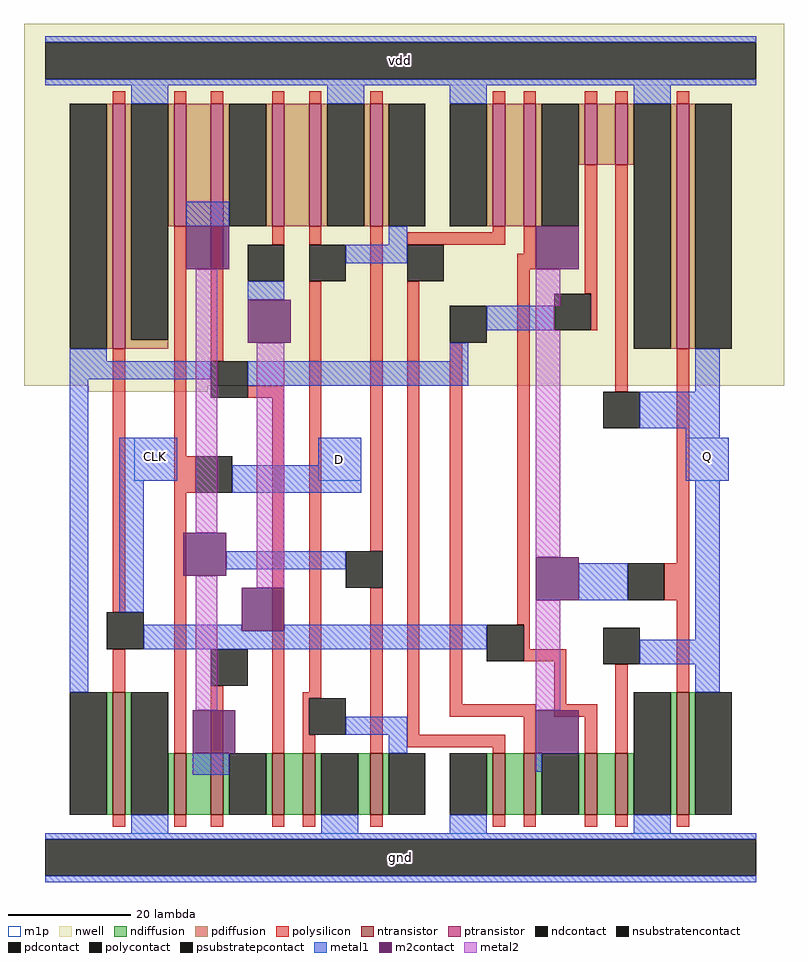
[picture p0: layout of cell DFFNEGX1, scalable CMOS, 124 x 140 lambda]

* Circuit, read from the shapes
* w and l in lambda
.subckt DFFNEGX1 D CLK Q vdd gnd
M1 gnd CLK n1 gnd nfet w=20 l=2
M2 n2 D gnd gnd nfet w=10 l=2
M3 n3 CLK n2 gnd nfet w=10 l=2
M4 n4 n1 n3 gnd nfet w=10 l=2
M5 gnd n5 n4 gnd nfet w=10 l=2
M6 n5 n3 gnd gnd nfet w=10 l=2
M7 n6 n5 gnd gnd nfet w=10 l=2
M8 n7 n1 n6 gnd nfet w=10 l=2
M9 n8 CLK n7 gnd nfet w=10 l=2
M10 gnd Q n8 gnd nfet w=10 l=2
M11 Q n7 gnd gnd nfet w=20 l=2
M12 vdd CLK n1 vdd pfet w=40 l=2
M13 n9 D vdd vdd pfet w=20 l=2
M14 n3 n1 n9 vdd pfet w=20 l=2
M15 n10 CLK n3 vdd pfet w=20 l=2
M16 vdd n5 n10 vdd pfet w=20 l=2
M17 n5 n3 vdd vdd pfet w=20 l=2
M18 n11 n5 vdd vdd pfet w=20 l=2
M19 n7 CLK n11 vdd pfet w=20 l=2
M20 n12 n1 n7 vdd pfet w=10 l=2
M21 vdd Q n12 vdd pfet w=10 l=2
M22 Q n7 vdd vdd pfet w=40 l=2
.ends

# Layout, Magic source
magic
tech scmos
magscale 1 2
<< nwell >>
rect -13 154 235 272
rect 8 152 47 154
<< ntransistor >>
rect 16 14 20 54
rect 36 14 40 34
rect 48 14 52 34
rect 68 14 72 34
rect 78 14 82 34
rect 100 14 104 34
rect 140 14 144 34
rect 150 14 154 34
rect 170 14 174 34
rect 180 14 184 34
rect 200 14 204 54
<< ptransistor >>
rect 16 166 20 246
rect 36 206 40 246
rect 48 206 52 246
rect 68 206 72 246
rect 80 206 84 246
rect 100 206 104 246
rect 140 206 144 246
rect 150 206 154 246
rect 170 226 174 246
rect 180 226 184 246
rect 200 166 204 246
<< ndiffusion >>
rect 14 14 16 54
rect 20 14 22 54
rect 34 14 36 34
rect 40 14 48 34
rect 52 14 54 34
rect 66 14 68 34
rect 72 14 78 34
rect 82 14 84 34
rect 96 14 100 34
rect 104 14 106 34
rect 138 14 140 34
rect 144 14 150 34
rect 154 14 156 34
rect 168 14 170 34
rect 174 14 180 34
rect 184 14 186 34
rect 198 14 200 54
rect 204 14 206 54
<< pdiffusion >>
rect 14 166 16 246
rect 20 169 22 246
rect 34 206 36 246
rect 40 206 48 246
rect 52 206 54 246
rect 66 206 68 246
rect 72 206 80 246
rect 84 206 86 246
rect 98 206 100 246
rect 104 206 106 246
rect 138 206 140 246
rect 144 206 150 246
rect 154 206 156 246
rect 168 226 170 246
rect 174 226 180 246
rect 184 226 186 246
rect 20 166 34 169
rect 198 166 200 246
rect 204 166 206 246
<< ndcontact >>
rect 2 14 14 54
rect 22 14 34 54
rect 54 14 66 34
rect 84 14 96 34
rect 106 14 118 34
rect 126 14 138 34
rect 156 14 168 34
rect 186 14 198 54
rect 206 14 218 54
<< pdcontact >>
rect 2 166 14 246
rect 22 169 34 246
rect 54 206 66 246
rect 86 206 98 246
rect 106 206 118 246
rect 126 206 138 246
rect 156 206 168 246
rect 186 166 198 246
rect 206 166 218 246
<< psubstratepcontact >>
rect -6 -6 226 6
<< nsubstratencontact >>
rect -6 254 226 266
<< polysilicon >>
rect 16 246 20 250
rect 36 246 40 250
rect 48 246 52 250
rect 68 246 72 250
rect 80 246 84 250
rect 100 246 104 250
rect 140 246 144 250
rect 150 246 154 250
rect 170 246 174 250
rect 180 246 184 250
rect 200 246 204 250
rect 16 80 20 166
rect 36 131 40 206
rect 48 162 52 206
rect 68 200 72 206
rect 80 200 84 206
rect 60 150 72 154
rect 36 119 43 131
rect 16 54 20 68
rect 36 34 40 119
rect 48 34 52 56
rect 68 34 72 150
rect 80 54 84 188
rect 100 100 104 206
rect 140 204 144 206
rect 78 52 84 54
rect 78 40 80 52
rect 78 34 82 40
rect 100 34 104 88
rect 112 200 144 204
rect 150 197 154 206
rect 148 192 154 197
rect 112 40 116 188
rect 126 50 130 168
rect 148 76 152 192
rect 170 184 174 226
rect 172 172 174 184
rect 180 152 184 226
rect 200 96 204 166
rect 196 84 204 96
rect 150 68 152 76
rect 150 64 164 68
rect 160 50 164 64
rect 126 46 154 50
rect 160 46 174 50
rect 112 36 144 40
rect 140 34 144 36
rect 150 34 154 46
rect 170 34 174 46
rect 180 34 184 63
rect 200 54 204 84
rect 16 10 20 14
rect 36 10 40 14
rect 48 10 52 14
rect 68 10 72 14
rect 78 10 82 14
rect 100 10 104 14
rect 140 10 144 14
rect 150 10 154 14
rect 170 10 174 14
rect 180 10 184 14
rect 200 10 204 14
<< polycontact >>
rect 60 188 72 200
rect 80 188 92 200
rect 48 150 60 162
rect 43 119 55 131
rect 14 68 26 80
rect 48 56 60 68
rect 92 88 104 100
rect 80 40 92 52
rect 112 188 124 200
rect 126 168 138 180
rect 160 172 172 184
rect 176 140 188 152
rect 184 84 196 96
rect 138 64 150 76
rect 176 63 188 75
<< metal1 >>
rect -6 266 226 268
rect -6 252 226 254
rect 22 246 34 252
rect 86 246 98 252
rect 126 246 138 252
rect 186 246 198 252
rect 40 206 54 214
rect 106 200 112 206
rect 92 194 112 200
rect 60 182 72 188
rect 138 172 160 180
rect 2 162 14 166
rect 126 162 132 168
rect 2 156 48 162
rect 2 54 8 156
rect 60 154 132 162
rect 206 152 214 166
rect 188 140 214 152
rect 203 137 214 140
rect 18 123 37 137
rect 18 80 26 123
rect 83 128 97 137
rect 55 119 97 128
rect 203 123 217 137
rect 53 94 92 100
rect 26 74 58 76
rect 168 84 184 96
rect 72 74 138 76
rect 26 68 138 74
rect 206 71 214 123
rect 188 63 214 71
rect 206 54 214 63
rect 92 40 112 46
rect 106 34 112 40
rect 42 27 54 34
rect 154 28 156 34
rect 22 8 34 14
rect 84 8 96 14
rect 126 8 138 14
rect 186 8 198 14
rect -6 6 226 8
rect -6 -8 226 -6
<< m2contact >>
rect 40 192 54 206
rect 154 192 168 206
rect 60 168 74 182
rect 39 92 53 106
rect 58 74 72 88
rect 154 84 168 98
rect 42 34 56 48
rect 154 34 168 48
<< metal2 >>
rect 43 106 50 192
rect 154 180 162 192
rect 154 172 160 180
rect 43 48 50 92
rect 63 88 72 168
rect 154 98 162 172
rect 154 48 162 84
<< m1p >>
rect -6 252 226 268
rect 23 123 37 137
rect 83 123 97 137
rect 203 123 217 137
rect -6 -8 226 8
<< labels >>
rlabel nsubstratencontact 110 260 110 260 0 vdd
port 4 nsew power bidirectional abutment
rlabel psubstratepcontact 110 0 110 0 0 gnd
port 5 nsew ground bidirectional abutment
rlabel metal1 30 131 30 131 0 CLK
port 2 nsew clock input
rlabel metal1 90 130 90 130 0 D
port 1 nsew signal input
rlabel metal1 210 131 210 131 0 Q
port 3 nsew signal output
<< properties >>
string FIXED_BBOX 0 0 220 260
string LEFclass CORE
string LEFsite core
string LEFsymmetry X Y
<< end >>
